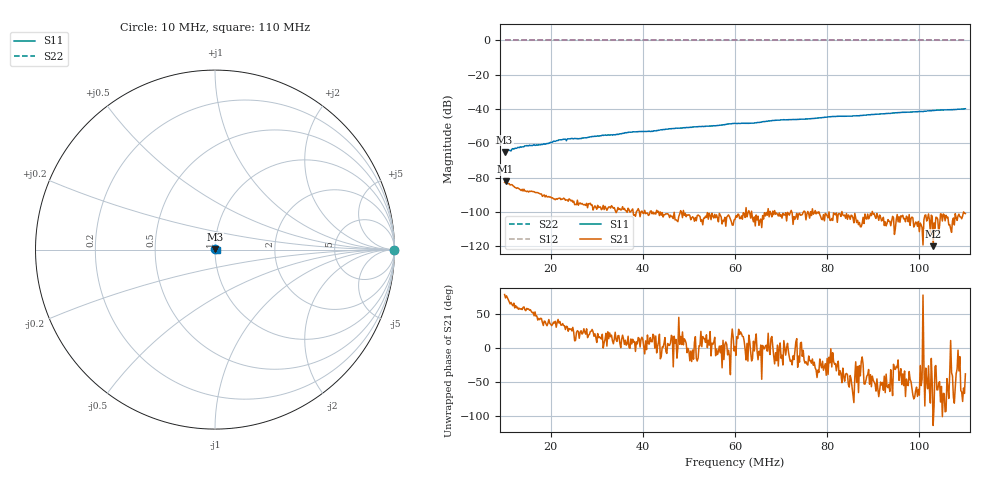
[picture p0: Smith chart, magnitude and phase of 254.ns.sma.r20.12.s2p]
! Anritsu VNA Master:  Model: MS2036C/10/77
! SN:  1601066
! /card0/usr/254.ns.sma.r20.12.s2p
! Existing Calibration Information:
! TYPE:  Current Settings,  Active Cal Settings
! TIME:  12/20/2017 01:31:32 PM,  12/20/2017 01:21:26 PM
! INTERNAL TEMP:  45.5 C,  44.5 C
! # POINTS:  501,  501
! START FREQ:  10.000 MHz,  10.000 MHz
! STOP FREQ:  110.000 MHz,  110.000 MHz
! SOURCE POWER:  High,  High
! IFBW:  100 Hz,  100 Hz
! AVG FACTOR:  1 ,  1
! REF PLANE 1:  0 mm,  0 mm
! REF PLANE 2:  0 mm,  0 mm
! CAL TYPE:  Full S11,  Full S11
! CAL METHOD:  SOLT,  SOLT
! CAL LINE TYPE:  Coax,  Coax
! DUT PORT 1:  N-Conn(F),  N-Conn(F)
! DUT PORT 2:  K-Conn(F),  K-Conn(F)
! CAL STATUS:  OK: Accuracy High,  --
# GHZ S DB R 50.0
! FREQ.GHZ  S11DB  S11A  S21DB  S21A  S12DB  S12A  S22DB  S22A
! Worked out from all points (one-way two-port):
!   501 points, 10 MHz to 110 MHz, reference 50 ohm
!   highest |S21| = -82.03 dB at 10.2 MHz (marker M1); lowest = -119.9 dB at 103 MHz (marker M2)
!   lowest |S11| = -64.9 dB at 10 MHz (marker M3), VSWR 1.00, Z = 50 + j0.0568 ohm
!   |S11| at or under -10 dB: start of sweep to end of sweep
!   |S22| runs from 0.0 to 0.0 dB; largest |S21 - S12| = 1
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0.01  -64.91 89.9  -82.69 78.8  0.00 0.0  0.00 0.0
0.0102  -64.11 94.8  -82.03 73.8  0.00 0.0  0.00 0.0
0.0148  -61.27 80.2  -88.08 58.5  0.00 0.0  0.00 0.0
0.019  -60.33 76.3  -90.29 35.5  0.00 0.0  0.00 0.0
0.0222  -57.94 71.9  -92.74 34.1  0.00 0.0  0.00 0.0
0.0268  -56.94 68.3  -94.99 20.8  0.00 0.0  0.00 0.0
0.0314  -55.34 64.2  -96.13 0.2  0.00 0.0  0.00 0.0
0.0342  -54.84 62.6  -100.35 12.3  0.00 0.0  0.00 0.0
0.0374  -53.49 59.1  -99.64 13.6  0.00 0.0  0.00 0.0
0.0418  -52.95 55.5  -99.28 10.1  0.00 0.0  0.00 0.0
0.0434  -52.33 54.2  -99.58 8.9  0.00 0.0  0.00 0.0
0.046  -51.44 51.6  -101.84 7.6  0.00 0.0  0.00 0.0
0.056  -49.59 42.2  -101.65 -1.3  0.00 0.0  0.00 0.0
0.06  -48.32 39.3  -104.33 2.5  0.00 0.0  0.00 0.0
0.064  -48.17 35.4  -105.68 10.2  0.00 0.0  0.00 0.0
0.0686  -46.55 30.1  -99.14 -23.0  0.00 0.0  0.00 0.0
0.0768  -45.59 23.5  -98.11 -15.8  0.00 0.0  0.00 0.0
0.0808  -44.46 19.6  -104.87 -0.7  0.00 0.0  0.00 0.0
0.0864  -43.85 14.9  -106.13 -50.3  0.00 0.0  0.00 0.0
0.0934  -42.51 6.6  -105.37 -53.0  0.00 0.0  0.00 0.0
0.103  -40.83 -3.3  -119.88 -113.4  0.00 0.0  0.00 0.0
0.11  -39.79 -10.8  -100.86 -37.6  0.00 0.0  0.00 0.0
